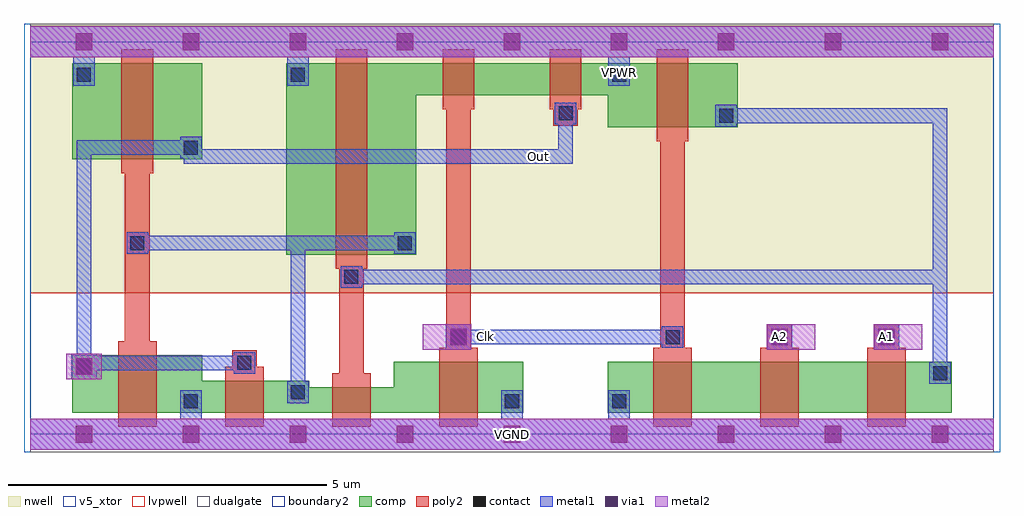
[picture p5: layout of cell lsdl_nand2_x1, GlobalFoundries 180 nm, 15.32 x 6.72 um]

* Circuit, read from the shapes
.subckt lsdl_nand2_x1 A1 A2 Clk Out VGND VPWR
XM1 VGND n1 Out VSUBS nfet_05v0 w=0.9u l=0.6u
XM2 n1 Out VGND VSUBS nfet_05v0 w=0.5u l=0.6u
XM3 n2 n3 n1 VSUBS nfet_05v0 w=0.4u l=0.6u
XM4 VGND Clk n2 VSUBS nfet_05v0 w=0.8u l=0.6u
XM5 n4 Clk VGND VSUBS nfet_05v0 w=0.8u l=0.6u
XM6 n5 A2 n4 VSUBS nfet_05v0 w=0.8u l=0.6u
XM7 n3 A1 n5 VSUBS nfet_05v0 w=0.8u l=0.6u
XM8 Out n1 VPWR n6 pfet_05v0 w=1.5u l=0.5u
XM9 n1 n3 VPWR n6 pfet_05v0 w=3u l=0.5u
XM10 n7 Clk n1 n6 pfet_05v0 w=0.5u l=0.5u
XM11 VPWR Out n7 n6 pfet_05v0 w=0.5u l=0.5u
XM12 n3 Clk VPWR n6 pfet_05v0 w=1u l=0.5u
.ends

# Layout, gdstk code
import gdstk
lib = gdstk.Library(unit=1e-6, precision=1e-09)
def R(c, l, rs):  # rectangles x0, y0, x1, y1
    for r in rs: c.add(gdstk.rectangle(r[:2], r[2:], *l))
def A(c, l, x, y, w, h, nx, ny, dx, dy):  # array of equal rectangles
    R(c, l, [(x+i*dx, y+j*dy, x+i*dx+w, y+j*dy+h) for i in range(nx) for j in range(ny)])
def P(c, l, *ps):  # polygons
    for p in ps: c.add(gdstk.Polygon(p, *l))
nwell = (21, 0)
comp = (22, 0)
poly2 = (30, 0)
contact = (33, 0)
metal1 = (34, 0)
via1 = (35, 0)
metal2 = (36, 0)
dualgate = (55, 0)
boundary2 = (63, 0)
v5_xtor = (112, 1)
lvpwell = (204, 0)

lsdl_nand2_x1 = lib.new_cell('lsdl_nand2_x1')
R(lsdl_nand2_x1, nwell, [(0,2.22,15.12,6.42)])
R(lsdl_nand2_x1, comp, [(9.06,0.34,14.46,1.14), (0.66,4.32,2.7,5.82)])
P(lsdl_nand2_x1, comp, [(0.66,0.34),(0.66,1.24),(2.7,1.24),(2.7,0.84),(4.38,0.84),(4.38,0.74),(5.7,0.74),(5.7,1.14),(7.74,1.14),(7.74,0.34)],
  [(4.02,2.82),(4.02,5.82),(11.1,5.82),(11.1,4.82),(9.06,4.82),(9.06,5.32),(6.06,5.32),(6.06,2.82)])
P(lsdl_nand2_x1, poly2, [(3.06,0.12),(3.06,1.06),(3.165,1.06),(3.165,1.315),(3.555,1.315),(3.555,1.06),(3.66,1.06),(3.66,0.12)],
  [(11.46,0.12),(11.46,1.36),(11.565,1.36),(11.565,1.72),(11.955,1.72),(11.955,1.36),(12.06,1.36),(12.06,0.12)],
  [(13.14,0.12),(13.14,1.36),(13.245,1.36),(13.245,1.72),(13.635,1.72),(13.635,1.36),(13.74,1.36),(13.74,0.12)],
  [(1.38,0.12),(1.38,1.46),(1.485,1.46),(1.485,4.1),(1.43,4.1),(1.43,6.04),(1.93,6.04),(1.93,4.1),(1.875,4.1),(1.875,1.46),(1.98,1.46),(1.98,0.12)],
  [(4.74,0.12),(4.74,0.96),(4.845,0.96),(4.845,2.6),(4.79,2.6),(4.79,6.04),(5.29,6.04),(5.29,2.6),(5.235,2.6),(5.235,0.96),(5.34,0.96),(5.34,0.12)],
  [(6.42,0.12),(6.42,1.36),(6.525,1.36),(6.525,5.1),(6.47,5.1),(6.47,6.04),(6.97,6.04),(6.97,5.1),(6.915,5.1),(6.915,1.36),(7.02,1.36),(7.02,0.12)],
  [(8.205,4.84),(8.205,5.1),(8.15,5.1),(8.15,6.04),(8.65,6.04),(8.65,5.1),(8.595,5.1),(8.595,4.84)],
  [(9.78,0.12),(9.78,1.36),(9.885,1.36),(9.885,4.6),(9.83,4.6),(9.83,6.04),(10.33,6.04),(10.33,4.6),(10.275,4.6),(10.275,1.36),(10.38,1.36),(10.38,0.12)])
A(lsdl_nand2_x1, contact, 9.97, 1.415, 0.22, 0.22, 3, 1, 1.68, 0)
R(lsdl_nand2_x1, contact, [(2.41,0.41,2.63,0.63), (7.45,0.41,7.67,0.63), (9.13,0.41,9.35,0.63), (4.09,0.55,4.31,0.77), (14.17,0.85,14.39,1.07), (0.73,0.95,0.95,1.17), (3.25,1.01,3.47,1.23), (6.61,1.415,6.83,1.635), (4.93,2.36,5.15,2.58), (1.57,2.89,1.79,3.11), (5.77,2.89,5.99,3.11), (2.41,4.39,2.63,4.61), (10.81,4.89,11.03,5.11), (8.29,4.925,8.51,5.145), (0.73,5.53,0.95,5.75), (4.09,5.53,4.31,5.75), (9.13,5.53,9.35,5.75)])
R(lsdl_nand2_x1, metal1, [(11.56,1.325,11.96,1.725), (13.24,1.325,13.64,1.725)])
P(lsdl_nand2_x1, metal1, [(0,-0.24),(0,0.24),(2.35,0.24),(2.35,0.69),(2.69,0.69),(2.69,0.24),(7.39,0.24),(7.39,0.69),(7.73,0.69),(7.73,0.24),(9.07,0.24),(9.07,0.69),(9.41,0.69),(9.41,0.24),(15.12,0.24),(15.12,-0.24)],
  [(6.52,1.325),(6.52,1.725),(6.92,1.725),(6.92,1.64),(9.91,1.64),(9.91,1.695),(10.25,1.695),(10.25,1.355),(9.91,1.355),(9.91,1.41),(6.92,1.41),(6.92,1.325)],
  [(4.03,0.49),(4.03,0.83),(4.085,0.83),(4.085,2.885),(1.85,2.885),(1.85,2.83),(1.51,2.83),(1.51,3.17),(1.85,3.17),(1.85,3.115),(5.71,3.115),(5.71,3.17),(6.05,3.17),(6.05,2.83),(5.71,2.83),(5.71,2.885),(4.315,2.885),(4.315,0.83),(4.37,0.83),(4.37,0.49)],
  [(14.11,0.79),(14.11,1.13),(14.165,1.13),(14.165,2.355),(5.21,2.355),(5.21,2.3),(4.87,2.3),(4.87,2.64),(5.21,2.64),(5.21,2.585),(14.165,2.585),(14.165,4.885),(11.09,4.885),(11.09,4.83),(10.75,4.83),(10.75,5.17),(11.09,5.17),(11.09,5.115),(14.395,5.115),(14.395,1.13),(14.45,1.13),(14.45,0.79)],
  [(0.64,0.86),(0.64,1.26),(0.725,1.26),(0.725,4.615),(2.35,4.615),(2.35,4.67),(2.69,4.67),(2.69,4.475),(8.285,4.475),(8.285,4.865),(8.23,4.865),(8.23,5.205),(8.57,5.205),(8.57,4.865),(8.515,4.865),(8.515,4.245),(2.405,4.245),(2.405,4.33),(2.35,4.33),(2.35,4.385),(0.955,4.385),(0.955,1.26),(1.04,1.26),(1.04,1.235),(3.19,1.235),(3.19,1.29),(3.53,1.29),(3.53,0.95),(3.19,0.95),(3.19,1.005),(1.04,1.005),(1.04,0.86)],
  [(0.67,5.47),(0.67,5.92),(0,5.92),(0,6.4),(15.12,6.4),(15.12,5.92),(9.41,5.92),(9.41,5.47),(9.07,5.47),(9.07,5.92),(4.37,5.92),(4.37,5.47),(4.03,5.47),(4.03,5.92),(1.01,5.92),(1.01,5.47)])
A(lsdl_nand2_x1, via1, 0.71, -0.13, 0.26, 0.26, 9, 2, 1.68, 6.16)
R(lsdl_nand2_x1, via1, [(0.71,0.93,0.97,1.19), (6.59,1.395,6.85,1.655), (11.63,1.395,11.89,1.655), (13.31,1.395,13.57,1.655)])
R(lsdl_nand2_x1, metal2, [(0,-0.24,15.12,0.24), (0.56,0.86,1.12,1.26), (6.16,1.325,6.92,1.725), (11.56,1.325,12.32,1.725), (13.24,1.325,14,1.725), (0,5.92,15.12,6.4)])
R(lsdl_nand2_x1, dualgate, [(0,-0.28,15.12,6.44)])
R(lsdl_nand2_x1, boundary2, [(0,0,15.12,6.16)])
R(lsdl_nand2_x1, v5_xtor, [(-0.1,-0.28,15.22,6.44)])
R(lsdl_nand2_x1, lvpwell, [(0,0,15.12,2.22)])
lsdl_nand2_x1.add(gdstk.Label('A1', (13.44,1.527), layer=34, texttype=0))
lsdl_nand2_x1.add(gdstk.Label('A2', (11.76,1.527), layer=34, texttype=0))
lsdl_nand2_x1.add(gdstk.Label('Clk', (7.14,1.527), layer=34, texttype=0))
lsdl_nand2_x1.add(gdstk.Label('Out', (7.98,4.362), layer=34, texttype=0))
lsdl_nand2_x1.add(gdstk.Label('VPWR', (9.24,5.676), layer=34, texttype=0))
lsdl_nand2_x1.add(gdstk.Label('VGND', (7.56,0), layer=34, texttype=0))

lib.write_gds('lsdl_nand2_x1.gds')
